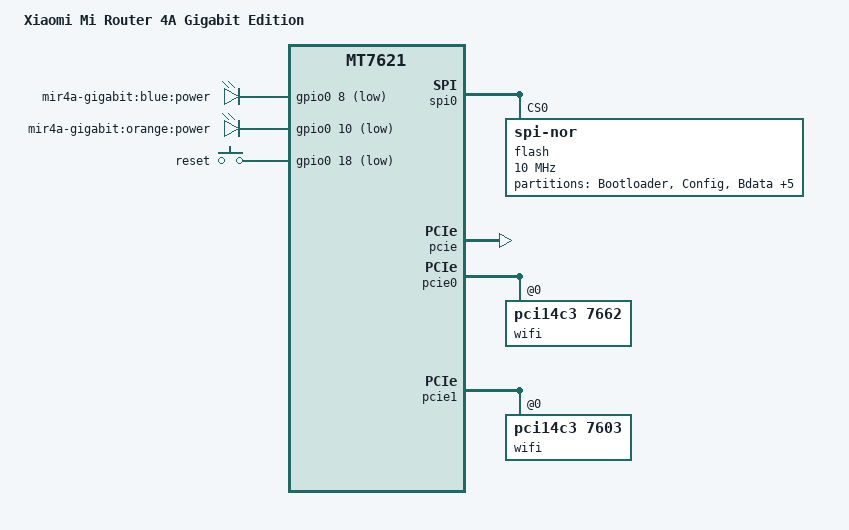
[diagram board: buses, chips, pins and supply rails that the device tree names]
// SPDX-License-Identifier: GPL-2.0-or-later OR MIT
/dts-v1/;

#include "mt7621.dtsi"

#include <dt-bindings/gpio/gpio.h>
#include <dt-bindings/input/input.h>

/ {
	compatible = "xiaomi,mir4a-gigabit", "mediatek,mt7621-soc";
	model = "Xiaomi Mi Router 4A Gigabit Edition";

	aliases {
		led-boot = &led_power_orange;
		led-failsafe = &led_power_orange;
		led-running = &led_power_blue;
		led-upgrade = &led_power_orange;
	};

	chosen {
		bootargs = "console=ttyS0,115200";
	};

	leds {
		compatible = "gpio-leds";

		led_power_blue: power_blue {
			label = "mir4a-gigabit:blue:power";
			gpios = <&gpio0 8 GPIO_ACTIVE_LOW>;
		};

		led_power_orange: power_orange {
			label = "mir4a-gigabit:orange:power";
			gpios = <&gpio0 10 GPIO_ACTIVE_LOW>;
		};
	};

	button {
		compatible = "gpio-keys";

		reset {
			label = "reset";
			gpios = <&gpio0 18 GPIO_ACTIVE_LOW>;
			linux,code = <KEY_RESTART>;
		};
	};
};

&spi0 {
	status = "okay";

	flash@0 {
		compatible = "jedec,spi-nor";
		reg = <0>;
		spi-max-frequency = <10000000>;

		partitions {
			compatible = "fixed-partitions";
			#address-cells = <1>;
			#size-cells = <1>;

			partition@0 {
				label = "Bootloader";
				reg = <0x0 0x30000>;
				read-only;
			};

			partition@30000 {
				label = "Config";
				reg = <0x30000 0x10000>;
			};

			partition@40000 {
				label = "Bdata";
				reg = <0x40000 0x10000>;
				read-only;
			};

			factory: partition@50000 {
				label = "Factory";
				reg = <0x50000 0x10000>;
				read-only;
			};

			partition@60000 {
				label = "crash";
				reg = <0x60000 0x10000>;
				read-only;
			};

			partition@70000 {
				label = "cfg_bak";
				reg = <0x70000 0x10000>;
				read-only;
			};

			partition@80000 {
				label = "overlay";
				reg = <0x80000 0x100000>;
				read-only;
			};

			partition@180000 {
				compatible = "denx,uimage";
				label = "firmware";
				reg = <0x180000 0xd00000>;
			};
		};
	};
};

&pcie {
	status = "okay";
};

&pcie0 {
	wifi@0,0 {
		compatible = "pci14c3,7662";
		reg = <0x0000 0 0 0 0>;
		mediatek,mtd-eeprom = <&factory 0x8000>;
		ieee80211-freq-limit = <5000000 6000000>;
	};
};

&pcie1 {
	wifi@0,0 {
		compatible = "pci14c3,7603";
		reg = <0x0000 0 0 0 0>;
		mediatek,mtd-eeprom = <&factory 0x0000>;
		ieee80211-freq-limit = <2400000 2500000>;
	};
};

&ethernet {
	mtd-mac-address = <&factory 0xe000>;
	mediatek,portmap = "llllw";
};

&pinctrl {
	state_default: pinctrl0 {
		gpio {
			ralink,group = "i2c";
			ralink,function = "gpio";
		};
	};
};

